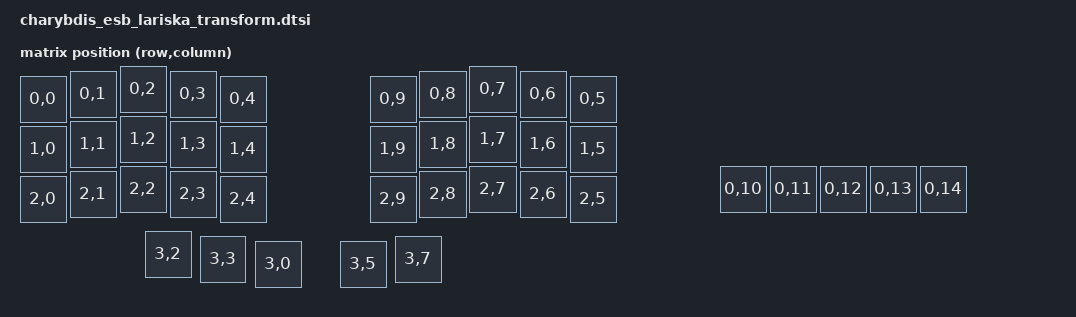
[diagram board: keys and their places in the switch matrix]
/*
 * Extends the charybdis default_transform and physical layout to include 5
 * lariska mouse-button positions at row 0, columns 10-14 (positions 35-39).
 * Keyboard positions 0-34 are unchanged.
 *
 * Include this file in both the charybdis_esb_lariska peripheral overlay and the
 * charybdis_esb dongle overlay.
 */

&default_transform {
    columns = <15>;
    map = <
        RC(0,0) RC(0,1) RC(0,2) RC(0,3) RC(0,4)  RC(0,9) RC(0,8) RC(0,7) RC(0,6) RC(0,5)
        RC(1,0) RC(1,1) RC(1,2) RC(1,3) RC(1,4)  RC(1,9) RC(1,8) RC(1,7) RC(1,6) RC(1,5)
        RC(2,0) RC(2,1) RC(2,2) RC(2,3) RC(2,4)  RC(2,9) RC(2,8) RC(2,7) RC(2,6) RC(2,5)
                        RC(3,2) RC(3,3) RC(3,0)  RC(3,5)  RC(3,7)
        /* Lariska mouse buttons: 5 keys at row 0, cols 10-14 (positions 35-39) */
        RC(0,10) RC(0,11) RC(0,12) RC(0,13) RC(0,14)
    >;
};

&charybdis_physical_layout {
    keys  //                     w   h    x    y     rot    rx    ry
        /* Row 0 */
        = <&key_physical_attrs 100 100    0   20       0     0     0>
        , <&key_physical_attrs 100 100  100   10       0     0     0>
        , <&key_physical_attrs 100 100  200    0       0     0     0>
        , <&key_physical_attrs 100 100  300   10       0     0     0>
        , <&key_physical_attrs 100 100  400   20       0     0     0>
        , <&key_physical_attrs 100 100  700   20       0     0     0>
        , <&key_physical_attrs 100 100  800   10       0     0     0>
        , <&key_physical_attrs 100 100  900    0       0     0     0>
        , <&key_physical_attrs 100 100 1000   10       0     0     0>
        , <&key_physical_attrs 100 100 1100   20       0     0     0>
        /* Row 1 */
        , <&key_physical_attrs 100 100    0  120       0     0     0>
        , <&key_physical_attrs 100 100  100  110       0     0     0>
        , <&key_physical_attrs 100 100  200  100       0     0     0>
        , <&key_physical_attrs 100 100  300  110       0     0     0>
        , <&key_physical_attrs 100 100  400  120       0     0     0>
        , <&key_physical_attrs 100 100  700  120       0     0     0>
        , <&key_physical_attrs 100 100  800  110       0     0     0>
        , <&key_physical_attrs 100 100  900  100       0     0     0>
        , <&key_physical_attrs 100 100 1000  110       0     0     0>
        , <&key_physical_attrs 100 100 1100  120       0     0     0>
        /* Row 2 */
        , <&key_physical_attrs 100 100    0  220       0     0     0>
        , <&key_physical_attrs 100 100  100  210       0     0     0>
        , <&key_physical_attrs 100 100  200  200       0     0     0>
        , <&key_physical_attrs 100 100  300  210       0     0     0>
        , <&key_physical_attrs 100 100  400  220       0     0     0>
        , <&key_physical_attrs 100 100  700  220       0     0     0>
        , <&key_physical_attrs 100 100  800  210       0     0     0>
        , <&key_physical_attrs 100 100  900  200       0     0     0>
        , <&key_physical_attrs 100 100 1000  210       0     0     0>
        , <&key_physical_attrs 100 100 1100  220       0     0     0>
        /* Row 3 thumbs */
        , <&key_physical_attrs 100 100  250  330       0     0     0>
        , <&key_physical_attrs 100 100  360  340       0     0     0>
        , <&key_physical_attrs 100 100  470  350       0     0     0>
        , <&key_physical_attrs 100 100  640  350       0     0     0>
        , <&key_physical_attrs 100 100  750  340       0     0     0>
        /* Lariska mouse buttons (placed to the right of the keyboard) */
        , <&key_physical_attrs 100 100 1400  200       0     0     0>
        , <&key_physical_attrs 100 100 1500  200       0     0     0>
        , <&key_physical_attrs 100 100 1600  200       0     0     0>
        , <&key_physical_attrs 100 100 1700  200       0     0     0>
        , <&key_physical_attrs 100 100 1800  200       0     0     0>
        ;
};
